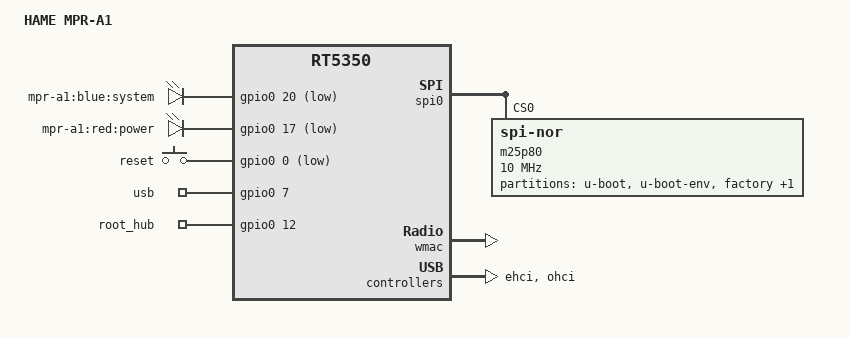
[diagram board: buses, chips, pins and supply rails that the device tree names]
/dts-v1/;

#include "rt5350.dtsi"

#include <dt-bindings/gpio/gpio.h>
#include <dt-bindings/input/input.h>

/ {
	compatible = "hame,mpr-a1", "ralink,rt5350-soc";
	model = "HAME MPR-A1";

	aliases {
		led-boot = &led_system;
		led-failsafe = &led_system;
		led-running = &led_system;
		led-upgrade = &led_system;
	};

	leds {
		compatible = "gpio-leds";

		led_system: system {
			label = "mpr-a1:blue:system";
			gpios = <&gpio0 20 GPIO_ACTIVE_LOW>;
		};

		power {
			label = "mpr-a1:red:power";
			gpios = <&gpio0 17 GPIO_ACTIVE_LOW>;
		};
	};

	keys {
		compatible = "gpio-keys-polled";
		poll-interval = <20>;

		wps {
			label = "reset";
			gpios = <&gpio0 0 GPIO_ACTIVE_LOW>;
			linux,code = <KEY_RESTART>;
		};
	};

	gpio_export {
		compatible = "gpio-export";
		#size-cells = <0>;

		usb {
			gpio-export,name = "usb";
			gpio-export,output = <1>;
			gpios = <&gpio0 7 GPIO_ACTIVE_HIGH>;
		};

		root_hub {
			gpio-export,name = "root_hub";
			gpio-export,output = <1>;
			gpios = <&gpio0 12 GPIO_ACTIVE_HIGH>;
		};
	};
};

&spi0 {
	status = "okay";

	m25p80@0 {
		compatible = "jedec,spi-nor";
		reg = <0>;
		spi-max-frequency = <10000000>;

		partitions {
			compatible = "fixed-partitions";
			#address-cells = <1>;
			#size-cells = <1>;

			partition@0 {
				label = "u-boot";
				reg = <0x0 0x30000>;
				read-only;
			};

			partition@30000 {
				label = "u-boot-env";
				reg = <0x30000 0x10000>;
				read-only;
			};

			factory: partition@40000 {
				label = "factory";
				reg = <0x40000 0x10000>;
				read-only;
			};

			partition@50000 {
				compatible = "denx,uimage";
				label = "firmware";
				reg = <0x50000 0x3b0000>;
			};
		};
	};
};

&gpio1 {
	status = "okay";
};

&pinctrl {
	state_default: pinctrl0 {
		gpio {
			ralink,group = "i2c", "jtag", "uartf", "led";
			ralink,function = "gpio";
		};
	};
};

&ethernet {
	mtd-mac-address = <&factory 0x4>;
};

&esw {
	mediatek,portmap = <0x2f>;
};

&wmac {
	ralink,mtd-eeprom = <&factory 0>;
};

&ehci {
	status = "okay";
};

&ohci {
	status = "okay";
};
